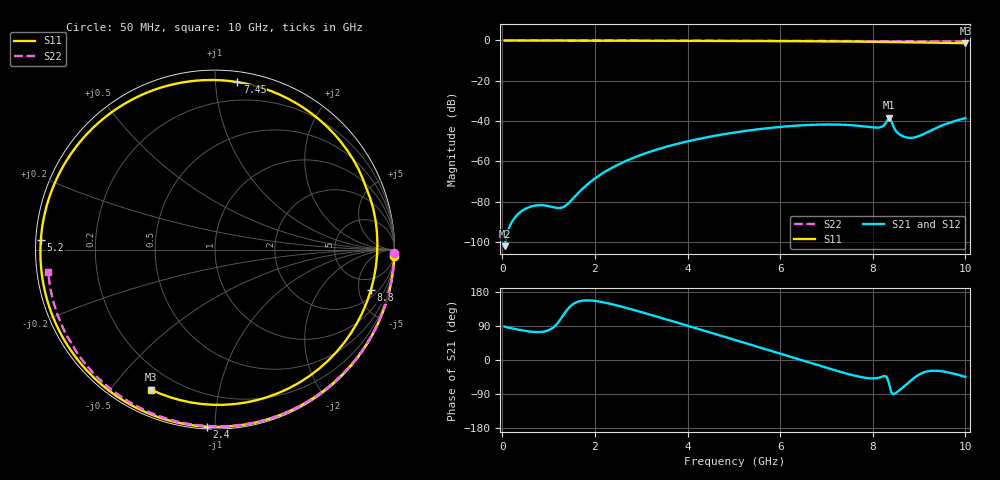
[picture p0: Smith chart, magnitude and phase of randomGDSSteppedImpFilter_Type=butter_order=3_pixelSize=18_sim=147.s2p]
! freq	dB(S11)	phase(S11)	dB(S12)	phase(S12)
!  dB(S21)	phase(S21)	dB(S22)	phase(S22)
!S-par simulation data
#  GHz  S  DB  R 50
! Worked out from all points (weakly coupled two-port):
!   200 points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, 50 MHz to 10 GHz, reference 50 ohm
!   highest |S21| = -38.30 dB at 8.35 GHz (marker M1); lowest = -102.1 dB at 50 MHz (marker M2)
!   lowest |S11| = -1.3 dB at 10 GHz (marker M3), VSWR 13.05, Z = 5.4 - j31.9 ohm
!   |S11| at or under -10 dB: nowhere
!   |S22| runs from -0.6 to 0.0 dB; largest |S21 - S12| = 0
!   S11 on the Smith chart (normalised r, x): 50 MHz: 1, -55; 2.4 GHz: 0.01, -0.96; 5.2 GHz: 0.01, +0.03; 7.45 GHz: 0.07, +1.14; 8.8 GHz: 2.85, -6.61; 10 GHz: 0.11, -0.64
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0.05  -0.00 -2.1  -102.13 88.0  -102.13 88.0  -0.00 -1.0
0.7  -0.03 -28.7  -82.01 73.9  -82.01 73.9  -0.02 -14.0
1.45  -0.07 -58.1  -80.33 139.3  -80.33 139.3  -0.04 -28.7
1.75  -0.08 -69.3  -73.24 156.8  -73.24 156.8  -0.04 -34.5
2.4  -0.11 -92.6  -62.81 146.3  -62.81 146.3  -0.06 -46.9
3.4  -0.15 -125.9  -53.72 112.3  -53.72 112.3  -0.09 -65.3
4.25  -0.19 -152.8  -48.83 81.4  -48.83 81.4  -0.11 -80.2
5.05  -0.24 -178.4  -45.56 52.0  -45.56 52.0  -0.14 -93.8
5.2  -0.25 176.7  -45.06 46.5  -45.06 46.5  -0.15 -96.3
5.95  -0.31 150.5  -43.04 18.7  -43.04 18.7  -0.19 -108.5
6.7  -0.40 120.1  -41.87 -9.3  -41.87 -9.3  -0.23 -120.4
7.45  -0.52 82.4  -41.95 -36.4  -41.95 -36.4  -0.29 -132.1
7.8  -0.60 61.1  -42.64 -46.2  -42.64 -46.2  -0.32 -137.6
8.15  -0.71 37.0  -43.18 -46.1  -43.18 -46.1  -0.36 -143.1
8.25  -0.75 29.6  -41.98 -42.1  -41.98 -42.1  -0.38 -144.7
8.35  -0.82 22.1  -38.30 -61.6  -38.30 -61.6  -0.44 -146.2
8.55  -0.84 6.3  -46.13 -82.3  -46.13 -82.3  -0.40 -149.1
8.8  -0.94 -14.6  -48.35 -56.6  -48.35 -56.6  -0.42 -153.0
9.1  -1.06 -40.4  -46.44 -32.8  -46.44 -32.8  -0.45 -157.8
9.4  -1.17 -66.1  -43.15 -28.5  -43.15 -28.5  -0.49 -162.6
9.7  -1.26 -91.0  -40.51 -34.7  -40.51 -34.7  -0.52 -167.4
10  -1.33 -114.5  -38.60 -44.7  -38.60 -44.7  -0.56 -172.3
